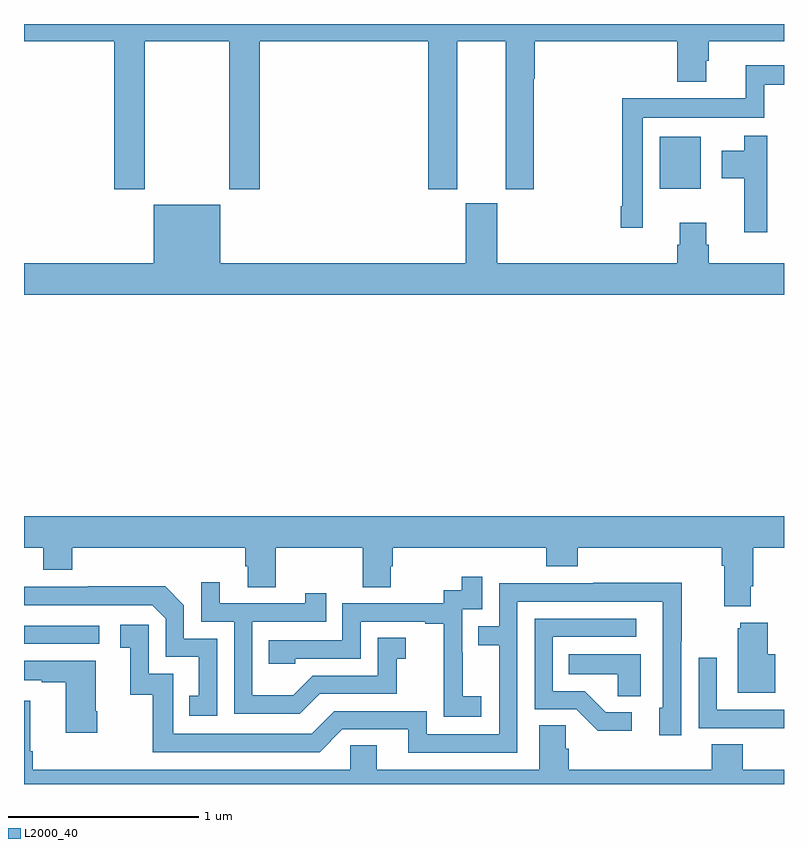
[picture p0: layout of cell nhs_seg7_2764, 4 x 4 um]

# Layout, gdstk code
import gdstk
lib = gdstk.Library(unit=1e-6, precision=1e-09)
def R(c, l, rs):  # rectangles x0, y0, x1, y1
    for r in rs: c.add(gdstk.rectangle(r[:2], r[2:], *l))
def P(c, l, *ps):  # polygons
    for p in ps: c.add(gdstk.Polygon(p, *l))
L2000_40 = (2000, 40)

nhs_seg7_2764 = lib.new_cell('nhs_seg7_2764')
R(nhs_seg7_2764, L2000_40, [(289,1038.738,289.396,1038.834), (292.346,1041.134,292.561,1041.406)])
P(nhs_seg7_2764, L2000_40, [(289.635,1041.908),(290.08,1041.908),(290.08,1041.129),(290.24,1041.129),(290.24,1041.908),(291.128,1041.908),(291.128,1041.129),(291.28,1041.129),(291.28,1041.908),(291.536,1041.908),(291.536,1041.129),(291.684,1041.129),(291.684,1041.712),(291.689,1041.712),(291.689,1041.908),(292.439,1041.908),(292.439,1041.695),(292.591,1041.695),(292.591,1041.807),(292.604,1041.807),(292.604,1041.908),(293,1041.908),(293,1042),(289,1042),(289,1041.908),(289.475,1041.908),(289.475,1041.129),(289.635,1041.129)],
  [(292.257,1041.506),(292.896,1041.506),(292.896,1041.68),(293,1041.68),(293,1041.784),(292.799,1041.784),(292.799,1041.61),(292.149,1041.61),(292.149,1041.04),(292.141,1041.04),(292.141,1040.928),(292.257,1040.928)],
  [(292.912,1041.412),(292.79,1041.412),(292.79,1041.334),(292.673,1041.334),(292.673,1041.187),(292.79,1041.187),(292.79,1040.904),(292.912,1040.904)],
  [(293,1040.74),(292.604,1040.74),(292.604,1040.838),(292.591,1040.838),(292.591,1040.953),(292.451,1040.953),(292.451,1040.838),(292.439,1040.838),(292.439,1040.74),(291.49,1040.74),(291.49,1041.057),(291.326,1041.057),(291.326,1040.74),(290.032,1040.74),(290.032,1041.049),(289.682,1041.049),(289.682,1040.74),(289,1040.74),(289,1040.576),(293,1040.576)],
  [(292.825,1039.042),(292.838,1039.042),(292.838,1039.244),(293,1039.244),(293,1039.408),(289,1039.408),(289,1039.244),(289.1,1039.244),(289.1,1039.127),(289.253,1039.127),(289.253,1039.244),(290.165,1039.244),(290.165,1039.146),(290.177,1039.146),(290.177,1039.036),(290.325,1039.036),(290.325,1039.244),(290.782,1039.244),(290.782,1039.036),(290.929,1039.036),(290.929,1039.146),(290.942,1039.146),(290.942,1039.244),(291.749,1039.244),(291.749,1039.145),(291.914,1039.145),(291.914,1039.244),(292.673,1039.244),(292.673,1039.148),(292.685,1039.148),(292.685,1038.935),(292.825,1038.935)],
  [(291.406,1038.463),(291.308,1038.463),(291.308,1038.692),(291.306,1038.692),(291.306,1038.921),(291.411,1038.921),(291.411,1039.09),(291.303,1039.09),(291.303,1039.02),(291.21,1039.02),(291.21,1038.951),(290.676,1038.951),(290.676,1038.756),(290.287,1038.756),(290.287,1038.633),(290.427,1038.633),(290.427,1038.66),(290.772,1038.66),(290.772,1038.855),(291.113,1038.855),(291.113,1038.843),(291.209,1038.843),(291.209,1038.559),(291.208,1038.559),(291.208,1038.353),(291.406,1038.353)],
  [(290.557,1038.474),(290.961,1038.474),(290.961,1038.659),(291.01,1038.659),(291.01,1038.769),(290.862,1038.769),(290.862,1038.57),(290.52,1038.57),(290.416,1038.466),(290.202,1038.466),(290.202,1038.855),(290.591,1038.855),(290.591,1039.003),(290.48,1039.003),(290.48,1038.951),(290.029,1038.951),(290.029,1039.063),(289.932,1039.063),(289.932,1038.855),(290.106,1038.855),(290.106,1038.369),(290.452,1038.369)],
  [(291.597,1038.96),(292.362,1038.96),(292.362,1038.402),(292.343,1038.402),(292.343,1038.257),(292.458,1038.257),(292.458,1038.751),(292.461,1038.751),(292.461,1039.058),(291.997,1039.058),(291.997,1039.056),(291.501,1039.056),(291.501,1038.831),(291.391,1038.831),(291.391,1038.73),(291.501,1038.73),(291.501,1038.261),(291.12,1038.261),(291.12,1038.384),(290.634,1038.384),(290.514,1038.264),(289.785,1038.264),(289.785,1038.579),(289.656,1038.579),(289.656,1038.838),(289.506,1038.838),(289.506,1038.717),(289.559,1038.717),(289.559,1038.471),(289.677,1038.471),(289.677,1038.168),(290.556,1038.168),(290.676,1038.288),(291.023,1038.288),(291.023,1038.165),(291.597,1038.165)],
  [(290.016,1038.765),(289.842,1038.765),(289.842,1038.942),(289.744,1039.04),(289.336,1039.04),(289.336,1039.038),(289,1039.038),(289,1038.942),(289.674,1038.942),(289.746,1038.87),(289.746,1038.669),(289.919,1038.669),(289.919,1038.465),(289.87,1038.465),(289.87,1038.36),(290.016,1038.36)],
  [(292.198,1038.378),(292.063,1038.378),(291.952,1038.489),(291.783,1038.489),(291.783,1038.774),(292.222,1038.774),(292.222,1038.87),(291.687,1038.87),(291.687,1038.393),(291.906,1038.393),(292.019,1038.281),(292.198,1038.281)],
  [(292.954,1038.682),(292.915,1038.682),(292.915,1038.85),(292.769,1038.85),(292.769,1038.819),(292.757,1038.819),(292.757,1038.479),(292.954,1038.479)],
  [(292.246,1038.682),(291.868,1038.682),(291.868,1038.578),(292.125,1038.578),(292.125,1038.463),(292.246,1038.463)],
  [(293,1038.39),(292.647,1038.39),(292.647,1038.664),(292.551,1038.664),(292.551,1038.294),(292.867,1038.294),(292.867,1038.293),(293,1038.293)],
  [(289.386,1038.382),(289.378,1038.382),(289.378,1038.649),(289,1038.649),(289,1038.545),(289.094,1038.545),(289.094,1038.535),(289.22,1038.535),(289.22,1038.27),(289.386,1038.27)],
  [(293,1038.076),(292.784,1038.076),(292.784,1038.209),(292.619,1038.209),(292.619,1038.076),(291.866,1038.076),(291.866,1038.185),(291.852,1038.185),(291.852,1038.308),(291.713,1038.308),(291.713,1038.076),(290.857,1038.076),(290.857,1038.203),(290.718,1038.203),(290.718,1038.076),(289.046,1038.076),(289.046,1038.172),(289.033,1038.172),(289.033,1038.439),(289,1038.439),(289,1038),(293,1038)])

lib.write_gds('nhs_seg7_2764.gds')
